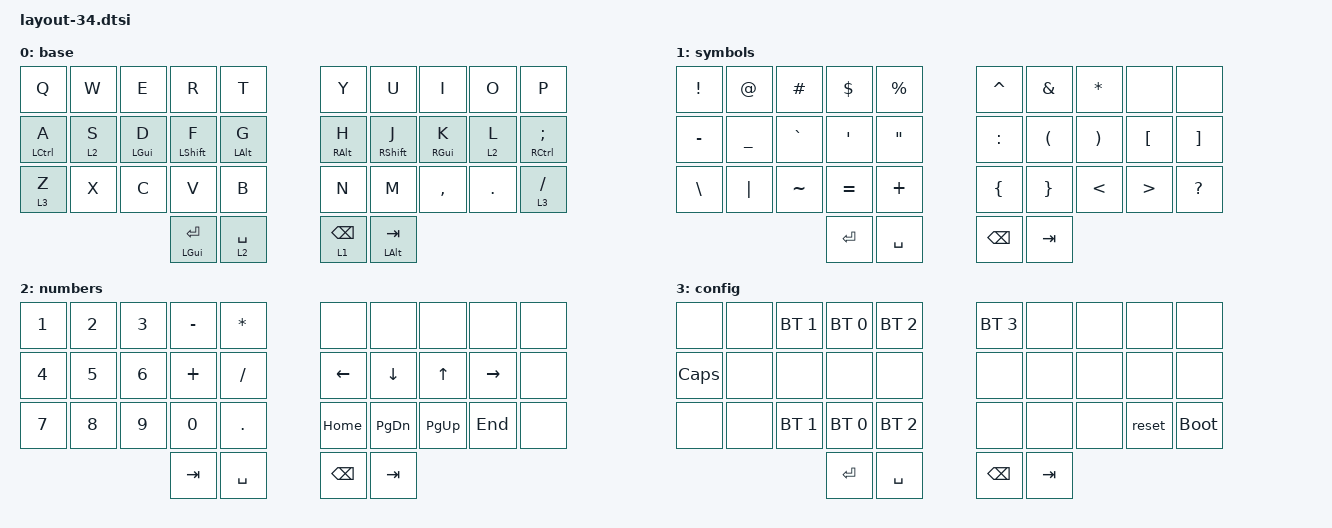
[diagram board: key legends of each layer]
#include <behaviors.dtsi>
#include <dt-bindings/zmk/bt.h>
#include <dt-bindings/zmk/keys.h>

//               == layout and key index ==
//
// +----+----+----+----+----+---+----+----+----+----+----+
// | 00 | 01 | 02 | 03 | 04 |***| 05 | 06 | 07 | 08 | 09 |
// +----+----+----+----+----+---+----+----+----+----+----+
// | 10 | 11 | 12 | 13 | 14 |***| 15 | 16 | 17 | 18 | 19 |
// +----+----+----+----+----+---+----+----+----+----+----+
// | 20 | 21 | 22 | 23 | 24 |***| 25 | 26 | 27 | 28 | 29 |
// +----+----+----+----+----+---+----+----+----+----+----+
//                | 30 | 31 |***| 32 | 33 |
//                +----+----+***+----|----+

&mt {
    tapping-term-ms = <200>;
    quick-tap-ms = <190>;
};

&lt {
    tapping-term-ms = <200>;
    quick-tap-ms = <190>;
};

/ {
    keymap {
        compatible = "zmk,keymap";
        label = "dcai's 34 keys keymap";

        base {
            bindings = <
//+-----------+---------+-----------+------------+-----------+/**/+-----------+------------+-----------+--------+---------------+
   &kp Q       &kp W     &kp E       &kp R        &kp T       /**/ &kp Y       &kp U        &kp I       &kp O    &kp P
//+-----------+---------+-----------+------------+-----------+/**/+-----------+------------+-----------+--------+---------------+
   &ht LCTRL A &lt 2 S   &ht LGUI D  &ht LSHFT F  &ht LALT G  /**/ &ht RALT H  &ht RSHFT J  &ht RGUI K  &lt 2 L  &ht RCTRL SEMI
//+-----------+---------+-----------+------------+-----------+/**/+-----------+------------+-----------+--------+---------------+
   &lt 3 Z     &kp X     &kp C       &kp V        &kp B       /**/ &kp N       &kp M        &kp COMMA   &kp DOT  &lt 3 SLASH
//+-----------+---------+-----------+------------+-----------+/**/+-----------+------------+-----------+--------+---------------+
                                     &ht LGUI RET &lt 2 SPACE /**/ &lt 1 BSPC  &ht LALT TAB
                                   //+-----------+-----------+/**/+-----------+------------+
            >;
        };

        symbols {
            bindings = <
//+---------+---------+----------+---------+----------+/**/+----------+----------+--------+--------+----------+
   &kp EXCL  &kp AT    &kp HASH   &kp DLLR  &kp PRCNT  /**/ &kp CARET  &kp AMPS   &kp STAR &none    &none
//+---------+---------+----------+---------+----------+/**/+----------+----------+--------+--------+----------+
   &kp MINUS &kp UNDER &kp GRAVE  &kp SQT   &kp DQT    /**/ &kp COLON  &kp LPAR   &kp RPAR &kp LBKT &kp RBKT
//+---------+---------+----------+---------+----------+/**/+----------+----------+--------+--------+----------+
   &kp BSLH  &kp PIPE  &kp TILDE  &kp EQUAL &kp PLUS   /**/ &kp LBRC   &kp RBRC   &kp LT   &kp GT   &kp QMARK
//+---------+---------+----------+---------+----------+/**/+----------+----------+--------+--------+----------+
                                  &kp RET   &kp SPACE  /**/ &kp BSPC   &kp TAB
                               //+---------+----------+/**/+----------+----------+
            >;
        };

        numbers {
            bindings = <
//+-------+-------+-------+----------+----------+/**/+---------+---------+--------+----------+-------+
   &kp N1  &kp N2  &kp N3  &kp MINUS  &kp STAR   /**/ &none     &none     &none     &none     &none
//+-------+-------+-------+----------+----------+/**/+---------+---------+--------+----------+-------+
   &kp N4  &kp N5  &kp N6  &kp PLUS   &kp SLASH  /**/ &kp LEFT  &kp DOWN  &kp UP    &kp RIGHT &none
//+-------+-------+-------+----------+----------+/**/+---------+---------+--------+----------+-------+
   &kp N7  &kp N8  &kp N9  &kp N0     &kp DOT    /**/ &kp HOME  &kp PG_DN &kp PG_UP &kp END   &none
//+-------+-------+-------+----------+----------+/**/+---------+---------+--------+----------+-------+
                           &kp TAB    &kp SPACE  /**/ &kp BSPC  &kp TAB
                        //+----------+----------+/**/+---------+---------+
            >;
        };

        config {
            bindings = <
//+--------+-------+------------+-------------+--------------+/**/+-------------+-------+-------+-------+------------+
   &none    &none   &bt BT_SEL 1  &bt BT_SEL 0  &bt BT_SEL 2  /**/ &bt BT_SEL 3  &none   &none   &none   &none
//+--------+-------+------------+-------------+--------------+/**/+-------------+-------+-------+-------+------------+
   &kp CAPS &none   &none         &none         &none         /**/ &none         &none   &none   &none   &none
//+--------+-------+------------+-------------+--------------+/**/+-------------+-------+-------+-------+------------+
   &none    &none   &bt BT_SEL 1  &bt BT_SEL 0  &bt BT_SEL 2  /**/ &none         &none   &none   &reset  &bootloader
//+--------+-------+------------+-------------+--------------+/**/+-------------+-------+-------+-------+------------+
                                  &kp RET       &kp SPACE     /**/ &kp BSPC      &kp TAB
                               //+------------+--------------+/**/+-------------+-------+
            >;
        };
    };

    behaviors {
        mylt: layer_tap {
            label = "LAYER_TAP";
            compatible = "zmk,behavior-hold-tap";
            #binding-cells = <2>;
            flavor = "tap-preferred";
            tapping-term-ms = <200>;
            quick-tap-ms = <190>;
            bindings = <&mo>, <&kp>;
            // global-quick-tap;
        };
        ht: hold_tap {
            label = "TAP_HOLD";
            compatible = "zmk,behavior-hold-tap";
            #binding-cells = <2>;
            flavor = "tap-preferred";
            tapping-term-ms = <200>;
            quick-tap-ms = <190>;
            bindings = <&kp>, <&kp>;
            // global-quick-tap;
        };
    };

    combos {
        compatible = "zmk,combos";

        combo_esc {
            timeout-ms = <50>;
            key-positions = <0 1>;
            bindings = <&kp ESC>;
        };

        combo_bspc {
            bindings = <&kp BACKSPACE>;
            key-positions = <3 4>;
        };

        combo_vol_down {
            bindings = <&kp C_VOL_DN>;
            key-positions = <5 6>;
        };

        combo_vol_up {
            bindings = <&kp C_VOL_UP>;
            key-positions = <6 7>;
        };
    };

    macros {
        chrome_profile: chrome_profile {
            compatible = "zmk,behavior-macro";
            label = "app";
            #binding-cells = <0>;
            bindings =
                <&macro_press>,
                <&kp LGUI>,
                <&macro_tap>,
                <&kp GRAVE>,
                <&macro_release>,
                <&kp LEFT_GUI>;
        };
    };
};
